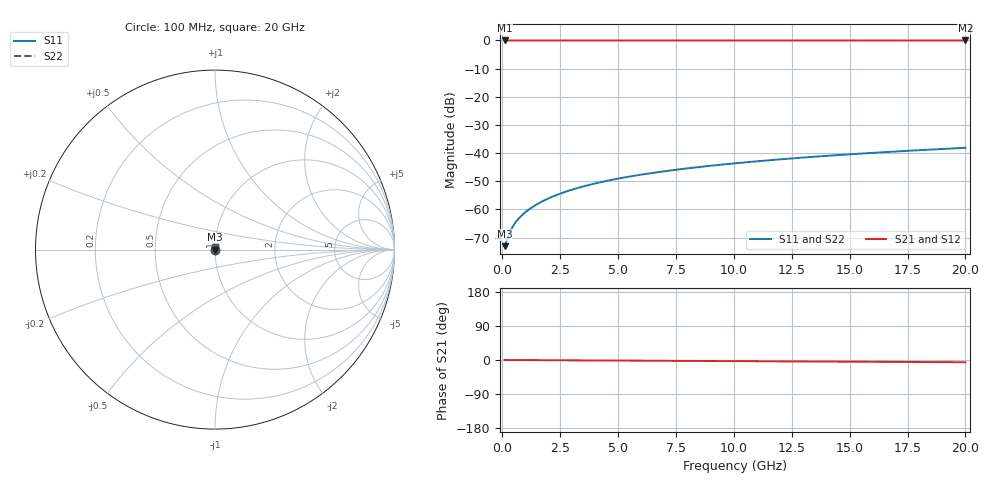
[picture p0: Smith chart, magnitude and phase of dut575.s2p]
! Touchstone file exported from HFSS 2026.1.0
!  File:  C:/ffzhzh/LocalFiles/Ansys_Project_Files/temp_train_TSV_575_1783024808_53980.aedt
!  Generated:  04:42:09 AM Jul  3, 2026
!  Design:  TSV
!  Project:  temp_train_TSV_575_1783024808_53980
! Variables:
!  h_bsmrdl = 2um
!  h_ox = 20um
!  h_rdl = 5um
!  h_sub = 58.44um
!  h_tmrdl = 5um
!  h_tsv = 58.44um
!  h_via = 3um
!  l_bsmrdl = 300um
!  l_sub = 412.94um
!  l_tmrdl = 200um
!  m_sub = 200um
!  pitch = 30.14um
!  r_tsv = 6.47um
!  s_tmrdl = 10um
!  w_bsmrdl = 18um
!  w_sub = 500um
!  w_tmrdl = 12um
!  x_tsv_center1 = 206um
!  x_tsv_center2 = 524um
!  x_tsv_center3 = 736um
!  x_tsv_center4 = 1054um
!  x_tsv_center5 = 1266um
!  x_tsv_center6 = 1584um
# GHz S MA R 50.000000
! Terminal data exported
! Port[1] = TSV1_1_T1
! Port[2] = TSV1_1_T2
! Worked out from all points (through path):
!   200 points, 100 MHz to 20 GHz, reference 50 ohm
!   highest |S21| = 0.00 dB at 100 MHz (marker M1); lowest = 0.0 dB at 20 GHz (marker M2)
!   lowest |S11| = -73.0 dB at 100 MHz (marker M3), VSWR 1.00, Z = 50 + j0.0101 ohm
!   |S11| at or under -10 dB: start of sweep to end of sweep
!   |S22| runs from -73.0 to -38.1 dB; largest |S21 - S12| = 3.4e-15
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0.1  0.0002231 27.0  0.9998 -0.0  0.9998 -0.0  0.0002231 27.0
! Gamma 0 0 0 0
! Port Impedance 50 0 50 0
0.3  0.0003704 52.1  0.9998 -0.1  0.9998 -0.1  0.0003704 52.1
0.4  0.000453 56.9  0.9998 -0.1  0.9998 -0.1  0.000453 56.9
0.5  0.0005335 59.9  0.9997 -0.2  0.9997 -0.2  0.0005335 59.9
0.6  0.0006109 61.9  0.9997 -0.2  0.9997 -0.2  0.0006109 61.9
0.8  0.0007577 64.8  0.9997 -0.2  0.9997 -0.2  0.0007577 64.8
1.1  0.0009662 67.7  0.9996 -0.3  0.9996 -0.3  0.0009662 67.7
1.3  0.001102 69.3  0.9996 -0.4  0.9996 -0.4  0.001102 69.3
1.6  0.001305 71.1  0.9996 -0.5  0.9996 -0.5  0.001305 71.1
2.1  0.001642 73.3  0.9995 -0.6  0.9995 -0.6  0.001642 73.3
2.7  0.002043 74.8  0.9995 -0.8  0.9995 -0.8  0.002043 74.8
3.5  0.002571 76.1  0.9994 -1.1  0.9994 -1.1  0.002571 76.1
4.2  0.003023 76.7  0.9994 -1.3  0.9994 -1.3  0.003023 76.7
5  0.00353 77.2  0.9993 -1.5  0.9993 -1.5  0.00353 77.2
5.9  0.00409 77.5  0.9992 -1.8  0.9992 -1.8  0.00409 77.5
6.8  0.004642 77.8  0.9992 -2.0  0.9992 -2.0  0.004642 77.8
8.3  0.00555 78.2  0.9991 -2.5  0.9991 -2.5  0.00555 78.2
10.1  0.006628 78.4  0.999 -3.0  0.999 -3.0  0.006628 78.4
11.7  0.007581 78.5  0.9989 -3.5  0.9989 -3.5  0.007581 78.5
13.4  0.008588 78.4  0.9988 -4.0  0.9988 -4.0  0.008588 78.4
16.7  0.01053 78.1  0.9987 -4.9  0.9987 -4.9  0.01053 78.1
20  0.01243 77.6  0.9985 -5.9  0.9985 -5.9  0.01243 77.6
